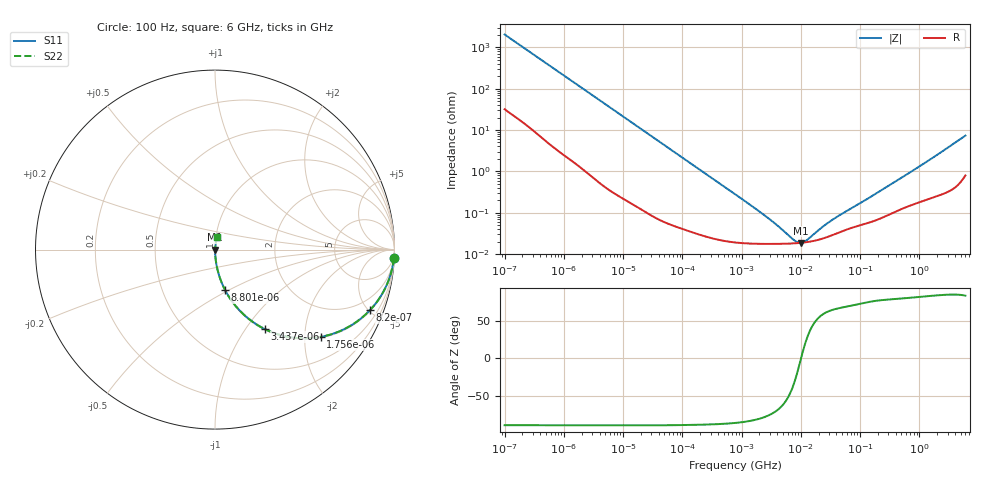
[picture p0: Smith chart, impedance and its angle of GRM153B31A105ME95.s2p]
!Murata Part Number: GRM153B31A105ME95
!These Parameters are Measured in Series Mode Connection
!Data Generated on Mar 30, 2021
!  o--ll--o
!Port1  Port2
!  o------o
!Operation Temp=25[degC], DC Bias Voltage=0[V]
!Freq. Start=100[Hz] Stop=6[GHz] 401[Steps]
# Hz S RI R 50
!Freq.(Hz) S11(Real) S11(Imag) S21(Real) S21(Imag) S12(Real) S12(Imag) S22(Real) S22(Imag)
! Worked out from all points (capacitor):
!   401 points, 100 Hz to 6 GHz, reference 50 ohm
!   read as one part in series: C = 773 nF near 109 Hz
!   lowest |Z| = 18.6 mohm at 9.942 MHz (marker M1)
!   series resonance near 10.08 MHz, so ESL is about 320 pH
!   S11 on the Smith chart (normalised r, x): 100 Hz: 2, -41; 820 Hz: 1.06, -5.10; 1.756 kHz: 1.03, -2.40; 3.437 kHz: 1.01, -1.23; 8.801 kHz: 1.00, -0.48; 6 GHz: 1.02, +0.15
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100  0.9969 -0.0485  0.00312 0.0485  0.00312 0.0485  0.9969 -0.0485
293  0.9786 -0.1378  0.0214 0.1378  0.0214 0.1378  0.9786 -0.1378
524  0.938 -0.2349  0.062 0.2349  0.062 0.2349  0.938 -0.2349
820  0.8639 -0.337  0.1361 0.337  0.1361 0.337  0.8639 -0.337
1174  0.7591 -0.4218  0.2409 0.4218  0.2409 0.4218  0.7591 -0.4218
1756  0.5886 -0.4864  0.4114 0.4864  0.4114 0.4864  0.5886 -0.4864
2008  0.5236 -0.4939  0.4764 0.4939  0.4764 0.4939  0.5236 -0.4939
3437  0.2765 -0.4422  0.7235 0.4422  0.7235 0.4422  0.2765 -0.4422
5378  0.1368 -0.3388  0.8632 0.3388  0.8632 0.3388  0.1368 -0.3388
8801  0.0571 -0.227  0.9429 0.227  0.9429 0.227  0.0571 -0.227
18016  0.0151 -0.1165  0.9849 0.1165  0.9849 0.1165  0.0151 -0.1165
40335  0.00349 -0.0529  0.9965 0.0529  0.9965 0.0529  0.00349 -0.0529
774597  0.000198 -0.00281  0.9998 0.00281  0.9998 0.00281  0.000198 -0.00281
2967816  0.000176 -0.000674  0.9998 0.000674  0.9998 0.000674  0.000176 -0.000674
7599586  0.000181 -0.000124  0.9998 0.000124  0.9998 0.000124  0.000181 -0.000124
9941735  0.000186 -5.9e-06  0.9998 5.9e-06  0.9998 5.9e-06  0.000186 -5.9e-06
1.189169e7  0.000191 7.11e-05  0.9998 -7.11e-05  0.9998 -7.11e-05  0.000191 7.11e-05
1.555665e7  0.000204 0.00019  0.9998 -0.00019  0.9998 -0.00019  0.000204 0.00019
3.64232e7  0.000297 0.00065  0.9997 -0.00065  0.9997 -0.00065  0.000297 0.00065
3.124326e8  0.000924 0.00453  0.9991 -0.00453  0.9991 -0.00453  0.000924 0.00453
1.873145e9  0.00297 0.0233  0.997 -0.0233  0.997 -0.0233  0.00297 0.0233
6e9  0.013 0.0712  0.987 -0.0712  0.987 -0.0712  0.013 0.0712
